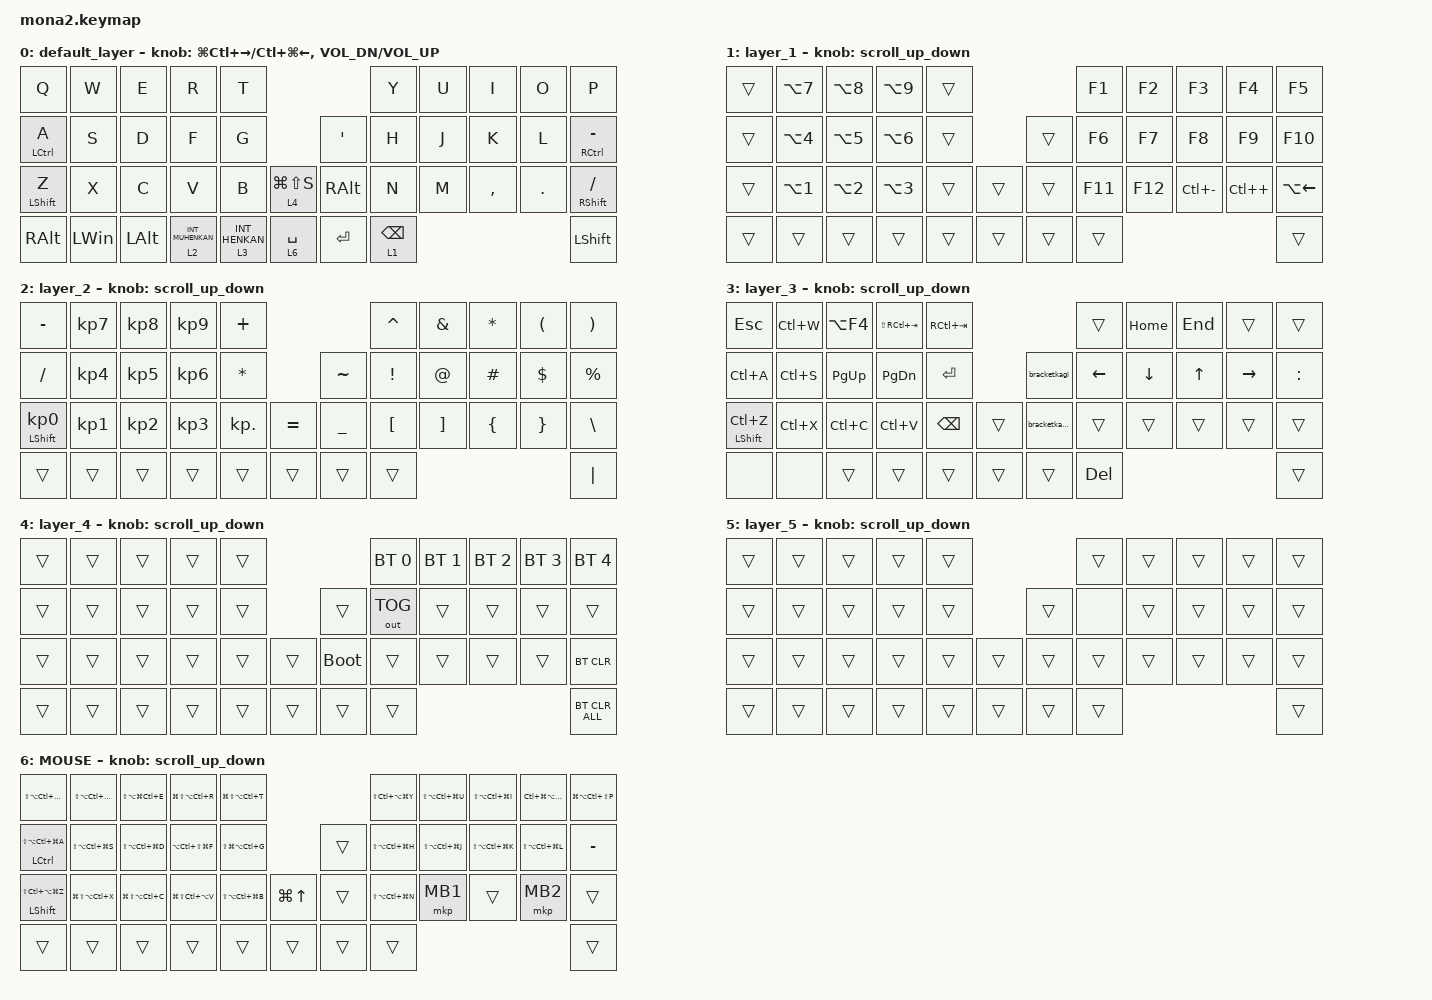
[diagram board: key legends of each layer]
#include <behaviors.dtsi>
#include <dt-bindings/zmk/bt.h>
#include <dt-bindings/zmk/keys.h>
#include <dt-bindings/zmk/outputs.h>
#include <dt-bindings/zmk/pointing.h>

#define ZMK_POINTING_DEFAULT_SCRL_VAL 100
#define MOUSE 6

&mt {
    flavor = "tap-preferred";
    quick-tap-ms = <100>;
    tapping-term-ms = <200>;
};

/ {
    combos {
        compatible = "zmk,combos";

        esccombo {
            bindings = <&kp ESC>;
            key-positions = <0 1>;
        };

        tab {
            bindings = <&kp TAB>;
            key-positions = <30 29>;
        };

        henkan {
            bindings = <&kp INT_HENKAN>;
            key-positions = <18 17>;
        };

        muhenkan {
            bindings = <&kp INT_MUHENKAN>;
            key-positions = <12 13>;
        };

        Shift-Tab {
            bindings = <&kp LS(TAB)>;
            key-positions = <29 28>;
        };
    };

    macros {
        to_layer_0: to_layer_0 {
            compatible = "zmk,behavior-macro-one-param";
            #binding-cells = <1>;
            bindings = <&to 0 &macro_param_1to1 &kp MACRO_PLACEHOLDER>;
            label = "TO_LAYER_0";
        };

        bracketkagi: bracket {
            compatible = "zmk,behavior-macro";
            #binding-cells = <0>;
            bindings = <&kp INTERNATIONAL_4 &kp LEFT_BRACKET &kp RIGHT_BRACKET &kp ENTER &kp LEFT_ARROW>;
            label = "BRACKET";
        };

        bracketkakko: bracketkakko {
            compatible = "zmk,behavior-macro";
            #binding-cells = <0>;
            bindings = <&kp INTERNATIONAL_4 &kp LEFT_PARENTHESIS &kp RIGHT_PARENTHESIS &kp ENTER &kp LEFT>;
            label = "BRACKETKAKKO";
        };
    };

    behaviors {
        lt_to_layer_0: lt_to_layer_0 {
            compatible = "zmk,behavior-hold-tap";
            label = "LAYER_TAP_TO_0";
            bindings = <&mo>, <&to_layer_0>;

            #binding-cells = <2>;
            tapping-term-ms = <200>;
        };

        scroll_up_down: behavior_sensor_rotate_mouse_wheel_up_down {
            compatible = "zmk,behavior-sensor-rotate";
            #sensor-binding-cells = <0>;
            bindings = <&msc SCRL_UP>, <&msc SCRL_DOWN>;

            tap-ms = <20>;
        };
    };

    keymap {
        compatible = "zmk,keymap";

        default_layer {
            bindings = <
&kp Q             &kp W         &kp E         &kp R               &kp T                                               &kp Y            &kp U  &kp I      &kp O    &kp P
&mt LCTRL A       &kp S         &kp D         &kp F               &kp G                                &kp APOS       &kp H            &kp J  &kp K      &kp L    &mt RCTRL MINUS
&mt LEFT_SHIFT Z  &kp X         &kp C         &kp V               &kp B             &lt 4 LG(LS(S))    &kp RIGHT_ALT  &kp N            &kp M  &kp COMMA  &kp DOT  &mt RIGHT_SHIFT SLASH
&kp RIGHT_ALT     &kp LEFT_WIN  &kp LEFT_ALT  &lt 2 INT_MUHENKAN  &lt 3 INT_HENKAN  &lt 6 SPACE        &kp ENTER      &lt 1 BACKSPACE                             &kp LEFT_SHIFT
            >;

            sensor-bindings =
                <&inc_dec_kp LG(LC(RIGHT)) LC(LG(LEFT))>,
                <&inc_dec_kp C_VOL_DN C_VOL_UP>;
        };

        layer_1 {
            bindings = <
&trans  &kp LA(N7)        &kp LA(N8)        &kp LA(N9)        &trans                    &kp F1   &kp F2   &kp F3         &kp F4        &kp F5
&trans  &kp LA(NUMBER_4)  &kp LA(N5)        &kp LA(NUMBER_6)  &trans            &trans  &kp F6   &kp F7   &kp F8         &kp F9        &kp F10
&trans  &kp LA(N1)        &kp LA(NUMBER_2)  &kp LA(NUMBER_3)  &trans  &trans    &trans  &kp F11  &kp F12  &kp LC(MINUS)  &kp LC(PLUS)  &kp LA(LEFT)
&trans  &trans            &trans            &trans            &trans  &trans    &trans  &trans                                         &trans
            >;

            sensor-bindings = <&scroll_up_down>;
        };

        layer_2 {
            bindings = <
&kp MINUS                   &kp KP_NUMBER_7  &kp KP_NUMBER_8  &kp KP_NUMBER_9  &kp PLUS                              &kp CARET         &kp AMPERSAND      &kp ASTERISK    &kp LEFT_PARENTHESIS  &kp RIGHT_PARENTHESIS
&kp SLASH                   &kp KP_NUMBER_4  &kp KP_NUMBER_5  &kp KP_NUMBER_6  &kp ASTERISK               &kp TILDE  &kp EXCLAMATION   &kp AT_SIGN        &kp HASH        &kp DOLLAR            &kp PERCENT
&mt LEFT_SHIFT KP_NUMBER_0  &kp KP_NUMBER_1  &kp KP_NUMBER_2  &kp KP_NUMBER_3  &kp KP_DOT    &kp EQUAL    &kp UNDER  &kp LEFT_BRACKET  &kp RIGHT_BRACKET  &kp LEFT_BRACE  &kp RIGHT_BRACE       &kp BACKSLASH
&trans                      &trans           &trans           &trans           &trans        &trans       &trans     &trans                                                                     &kp PIPE
            >;

            sensor-bindings = <&scroll_up_down>;
        };

        layer_3 {
            bindings = <
&kp ESCAPE            &kp LC(W)  &kp LA(F4)  &kp LS(RC(TAB))  &kp RC(TAB)                             &trans      &kp HOME  &kp END       &trans     &trans
&kp LC(A)             &kp LC(S)  &kp PG_UP   &kp PAGE_DOWN    &kp ENTER                &bracketkagi   &kp LEFT    &kp DOWN  &kp UP_ARROW  &kp RIGHT  &kp COLON
&mt LEFT_SHIFT LC(Z)  &kp LC(X)  &kp LC(C)   &kp LC(V)        &kp BACKSPACE  &trans    &bracketkakko  &trans      &trans    &trans        &trans     &trans
&none                 &none      &trans      &trans           &trans         &trans    &trans         &kp DELETE                                     &trans
            >;

            sensor-bindings = <&scroll_up_down>;
        };

        layer_4 {
            bindings = <
&trans  &trans  &trans  &trans  &trans                         &bt BT_SEL 0  &bt BT_SEL 1  &bt BT_SEL 2  &bt BT_SEL 3  &bt BT_SEL 4
&trans  &trans  &trans  &trans  &trans            &trans       &out OUT_TOG  &trans        &trans        &trans        &trans
&trans  &trans  &trans  &trans  &trans  &trans    &bootloader  &trans        &trans        &trans        &trans        &bt BT_CLR
&trans  &trans  &trans  &trans  &trans  &trans    &trans       &trans                                                  &bt BT_CLR_ALL
            >;

            sensor-bindings = <&scroll_up_down>;
        };

        layer_5 {
            bindings = <
&trans  &trans  &trans  &trans  &trans                    &trans  &trans  &trans  &trans  &trans
&trans  &trans  &trans  &trans  &trans            &trans  &none   &trans  &trans  &trans  &trans
&trans  &trans  &trans  &trans  &trans  &trans    &trans  &trans  &trans  &trans  &trans  &trans
&trans  &trans  &trans  &trans  &trans  &trans    &trans  &trans                          &trans
            >;

            sensor-bindings = <&scroll_up_down>;
        };

        MOUSE {
            bindings = <
&kp LS(LA(LC(LG(Q))))             &kp LS(LA(LC(LG(W))))  &kp LS(LA(LG(LC(E))))  &kp LG(LS(LA(LC(R))))  &kp LG(LS(LA(LC(T))))                              &kp LS(LC(LA(LG(Y))))  &kp LS(LA(LC(LG(U))))  &kp LS(LA(LC(LG(I))))  &kp LC(LG(LA(LS(O))))  &kp LG(LA(LC(LS(P))))
&mt LCTRL LS(LA(LC(LG(A))))       &kp LS(LA(LC(LG(S))))  &kp LS(LA(LC(LG(D))))  &kp LA(LC(LS(LG(F))))  &kp LS(LG(LA(LC(G))))                      &trans  &kp LS(LA(LC(LG(H))))  &kp LS(LA(LC(LG(J))))  &kp LS(LA(LC(LG(K))))  &kp LS(LA(LC(LG(L))))  &kp MINUS
&mt LEFT_SHIFT LS(LC(LA(LG(Z))))  &kp LG(LS(LA(LC(X))))  &kp LG(LS(LA(LC(C))))  &kp LG(LS(LC(LA(V))))  &kp LS(LA(LC(LG(B))))  &kp LG(UP_ARROW)    &trans  &kp LS(LA(LC(LG(N))))  &mkp MB1               &trans                 &mkp MB2               &trans
&trans                            &trans                 &trans                 &trans                 &trans                 &trans              &trans  &trans                                                                                      &trans
            >;

            sensor-bindings = <&scroll_up_down>;
        };
    };
};
